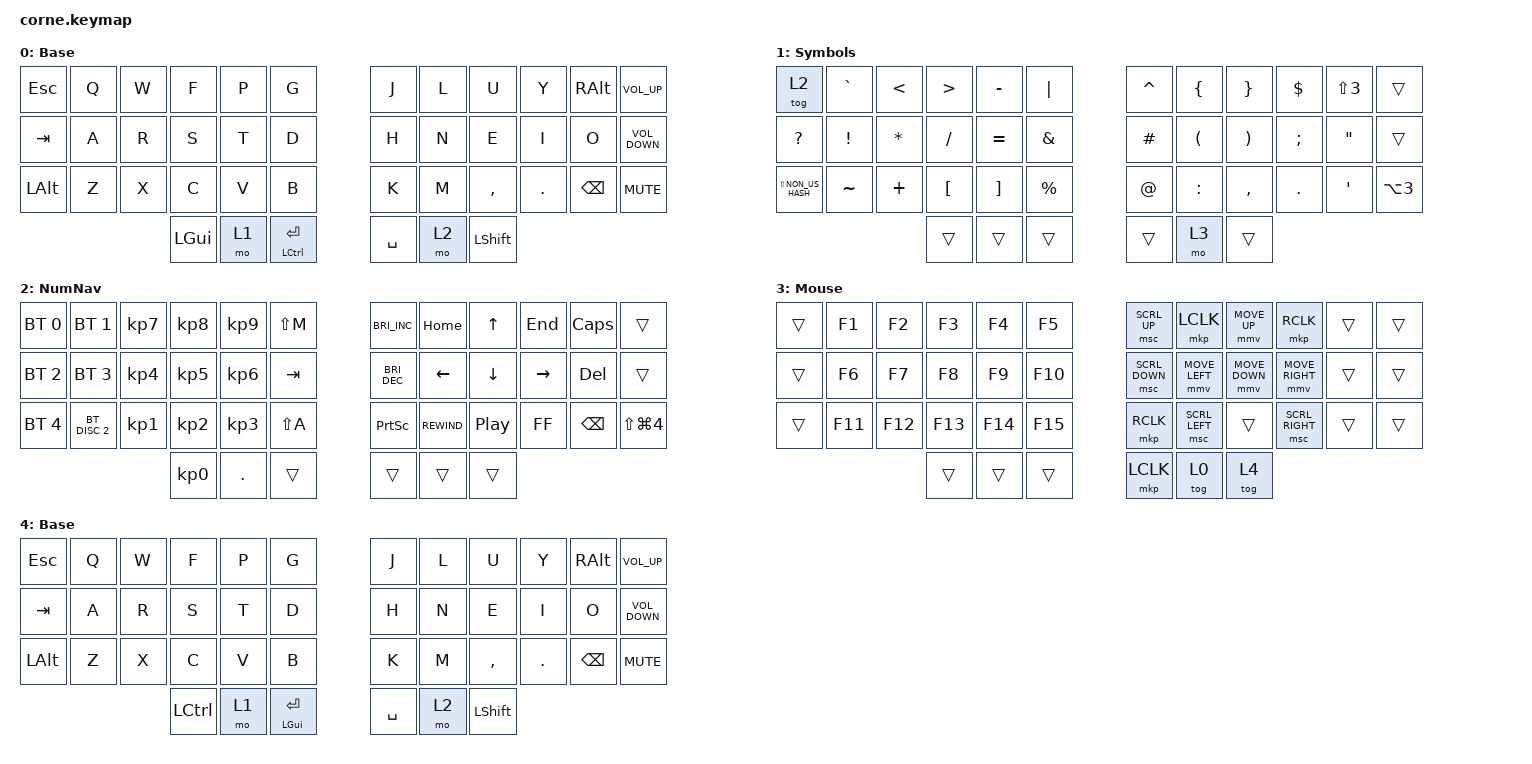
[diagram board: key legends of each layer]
/*
 * Copyright (c) 2020 The ZMK Contributors
 *
 * SPDX-License-Identifier: MIT
 */

#include <behaviors.dtsi>
#include <dt-bindings/zmk/bt.h>
#include <dt-bindings/zmk/keys.h>
#include <dt-bindings/zmk/pointing.h>

/ {
    keymap {
        compatible = "zmk,keymap";

        Base {
            // -----------------------------------------------------------------------------------------
            // |  TAB |  Q  |  W  |  E  |  R  |  T  |   |  Y  |  U   |  I  |  O  |  P  | BKSP |
            // | CTRL |  A  |  S  |  D  |  F  |  G  |   |  H  |  J   |  K  |  L  |  ;  |  '   |
            // | SHFT |  Z  |  X  |  C  |  V  |  B  |   |  N  |  M   |  ,  |  .  |  /  | ESC  |
            //                    | GUI | LWR | ENT |   | SPC | RSE  | ALT |

            display-name = "Base";
            bindings = <
&kp ESCAPE    &kp Q  &kp W  &kp F         &kp P  &kp G                      &kp J      &kp L  &kp U           &kp Y    &kp RIGHT_ALT  &kp C_VOLUME_UP
&kp TAB       &kp A  &kp R  &kp S         &kp T  &kp D                      &kp H      &kp N  &kp E           &kp I    &kp O          &kp C_VOLUME_DOWN
&kp LEFT_ALT  &kp Z  &kp X  &kp C         &kp V  &kp B                      &kp K      &kp M  &kp COMMA       &kp DOT  &kp BACKSPACE  &kp C_MUTE
                            &kp LEFT_GUI  &mo 1  &mt LEFT_CONTROL RETURN    &kp SPACE  &mo 2  &kp LEFT_SHIFT
            >;
        };

        Symbols {
            // -----------------------------------------------------------------------------------------
            // |  TAB |  1  |  2  |  3  |  4  |  5  |   |  6  |  7  |  8  |  9  |  0  | BKSP |
            // | BTCLR| BT1 | BT2 | BT3 | BT4 | BT5 |   | LFT | DWN |  UP | RGT |     |      |
            // | SHFT |     |     |     |     |     |   |     |     |     |     |     |      |
            //                    | GUI |     | ENT |   | SPC |     | ALT |

            display-name = "Symbols";
            bindings = <
&tog 2               &kp GRAVE  &kp LESS_THAN  &kp GREATER_THAN  &kp MINUS  &kp PIPE     &kp CARET  &kp LEFT_BRACE  &kp RIGHT_BRACE  &kp DOLLAR     &kp LS(NUMBER_3)  &trans
&kp QMARK            &kp EXCL   &kp ASTRK      &kp SLASH         &kp EQUAL  &kp AMPS     &kp POUND  &kp LPAR        &kp RPAR         &kp SEMICOLON  &kp DQT           &trans
&kp LS(NON_US_HASH)  &kp TILDE  &kp PLUS       &kp LBKT          &kp RBKT   &kp PRCNT    &kp AT     &kp COLON       &kp COMMA        &kp PERIOD     &kp SQT           &kp LA(NUMBER_3)
                                               &trans            &trans     &trans       &trans     &mo 3           &trans
            >;
        };

        NumNav {
            // -----------------------------------------------------------------------------------------
            // |  TAB |  !  |  @  |  #  |  $  |  %  |   |  ^  |  &  |  *  |  (  |  )  | BKSP |
            // | CTRL |     |     |     |     |     |   |  -  |  =  |  [  |  ]  |  \  |  `   |
            // | SHFT |     |     |     |     |     |   |  _  |  +  |  {  |  }  | "|" |  ~   |
            //                    | GUI |     | ENT |   | SPC |     | ALT |

            display-name = "NumNav";
            bindings = <
&bt BT_SEL 0  &bt BT_SEL 1   &kp KP_NUMBER_7  &kp KP_NUMBER_8  &kp KP_NUMBER_9  &kp LS(M)    &kp C_BRIGHTNESS_INC  &kp HOME        &kp UP_ARROW      &kp END          &kp CLCK       &trans
&bt BT_SEL 2  &bt BT_SEL 3   &kp KP_NUMBER_4  &kp KP_NUMBER_5  &kp KP_NUMBER_6  &kp TAB      &kp C_BRIGHTNESS_DEC  &kp LEFT_ARROW  &kp DOWN_ARROW    &kp RIGHT_ARROW  &kp DELETE     &trans
&bt BT_SEL 4  &bt BT_DISC 2  &kp KP_NUMBER_1  &kp KP_NUMBER_2  &kp KP_NUMBER_3  &kp LS(A)    &kp PRINTSCREEN       &kp C_REWIND    &kp C_PLAY_PAUSE  &kp C_FF         &kp BACKSPACE  &kp LS(LG(NUMBER_4))
                                              &kp KP_NUMBER_0  &kp PERIOD       &trans       &trans                &trans          &trans
            >;
        };

        Mouse {
            display-name = "Mouse";
            bindings = <
&trans  &kp F1   &kp F2   &kp F3   &kp F4   &kp F5     &msc SCRL_UP    &mkp LCLK       &mmv MOVE_UP    &mkp RCLK        &trans  &trans
&trans  &kp F6   &kp F7   &kp F8   &kp F9   &kp F10    &msc SCRL_DOWN  &mmv MOVE_LEFT  &mmv MOVE_DOWN  &mmv MOVE_RIGHT  &trans  &trans
&trans  &kp F11  &kp F12  &kp F13  &kp F14  &kp F15    &mkp RCLK       &msc SCRL_LEFT  &trans          &msc SCRL_RIGHT  &trans  &trans
                          &trans   &trans   &trans     &mkp LCLK       &tog 0          &tog 4
            >;
        };

        Mac_Base {
            display-name = "Base";
            bindings = <
&kp ESCAPE    &kp Q  &kp W  &kp F             &kp P  &kp G                  &kp J      &kp L  &kp U           &kp Y    &kp RIGHT_ALT  &kp C_VOLUME_UP
&kp TAB       &kp A  &kp R  &kp S             &kp T  &kp D                  &kp H      &kp N  &kp E           &kp I    &kp O          &kp C_VOLUME_DOWN
&kp LEFT_ALT  &kp Z  &kp X  &kp C             &kp V  &kp B                  &kp K      &kp M  &kp COMMA       &kp DOT  &kp BACKSPACE  &kp C_MUTE
                            &kp LEFT_CONTROL  &mo 1  &mt LEFT_GUI RETURN    &kp SPACE  &mo 2  &kp LEFT_SHIFT
            >;
        };
    };
};
